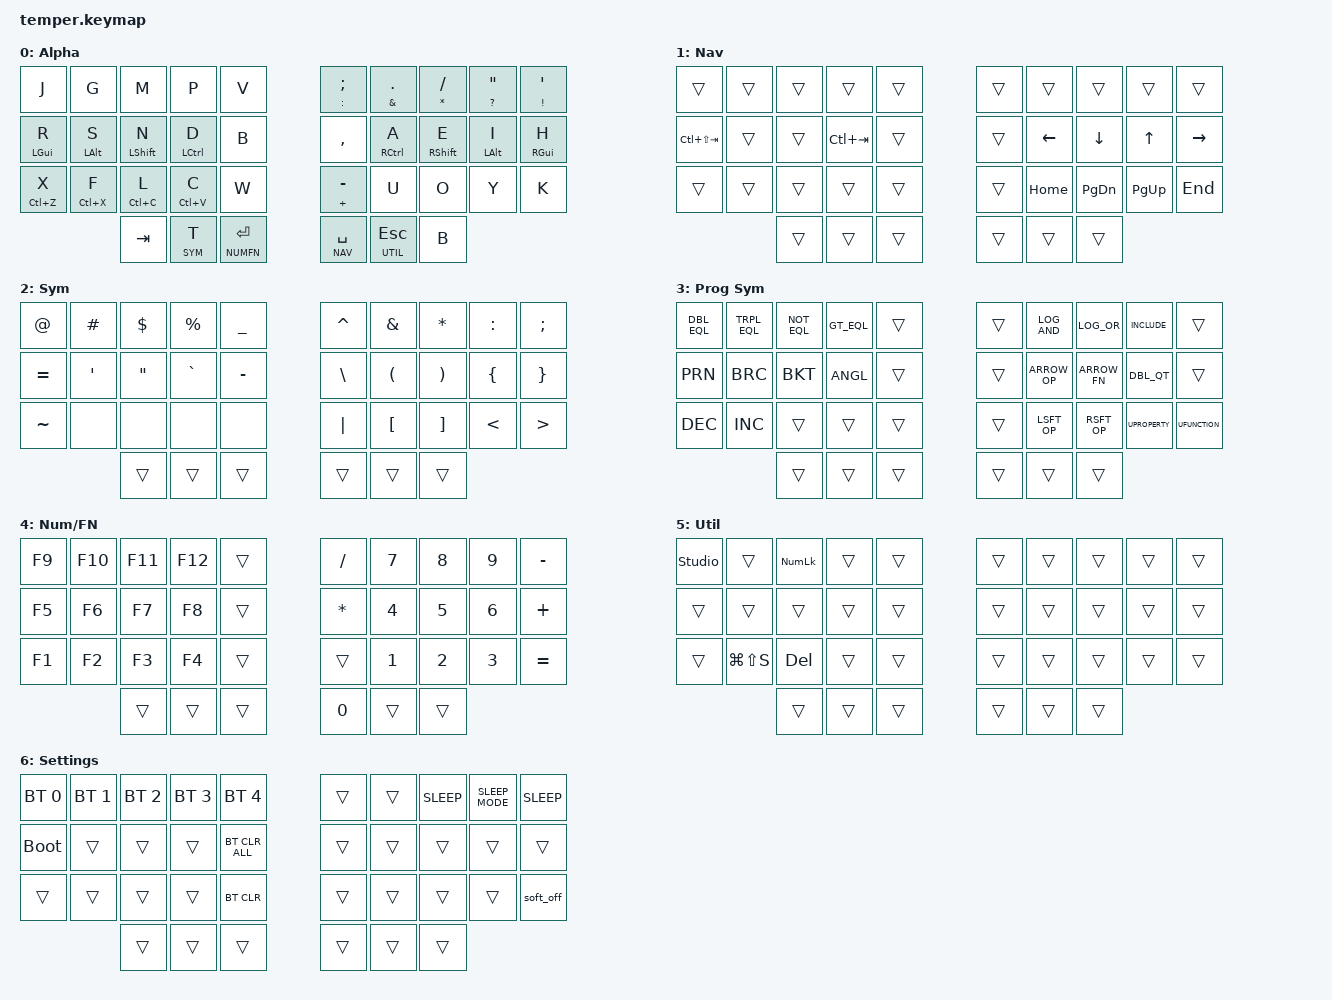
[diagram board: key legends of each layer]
/*
 * Copyright (c) 2020 The ZMK Contributors
 *
 * SPDX-License-Identifier: MIT
 */

#include "layers.conf"
#include "macros.conf"
#include "combos.conf"
#include <behaviors.dtsi>
#include <dt-bindings/zmk/bt.h>
#include <dt-bindings/zmk/keys.h>

/ {
    behaviors {
        hm: homerow_mods {
            compatible = "zmk,behavior-hold-tap";
            #binding-cells = <2>;
            tapping-term-ms = <200>;
            flavor = "tap-preferred";
            bindings = <&kp>, <&kp>;
        };

        kp_sl: behavior_kp_sl {
            compatible = "zmk,behavior-hold-tap";
            #binding-cells = <2>;
            flavor = "hold-preferred";
            tapping-term-ms = <200>;
            bindings = <&sl>, <&kp>;
        };

        ht: behavior_hold_tap_key {
            compatible = "zmk,behavior-hold-tap";
            #binding-cells = <2>;
            flavor = "hold-preferred";
            tapping-term-ms = <200>;
            bindings = <&kp>, <&kp>;
        };
    };

    conditional_layers {
        compatible = "zmk,conditional-layers";

        settings_trigger {
            if-layers = <1 4>;
            then-layer = <6>;
        };
    };

    combos {
        compatible = "zmk,combos";

        KP_Z {
            bindings = <&kp Z>;
            key-positions = <0 1>;
        };

        KP_Q {
            bindings = <&kp Q>;
            key-positions = <1 2>;
        };
    };

    keymap {
        compatible = "zmk,keymap";

        default_layer {
            display-name = "Alpha";
            bindings = <
  &kp J        &kp G        &kp M        &kp P        &kp V              &ht COLON SEMICOLON  &ht AMPERSAND PERIOD  &ht ASTERISK SLASH  &ht QUESTION DOUBLE_QUOTES  &ht EXCLAMATION SQT
  &hm LGUI R   &hm LALT S   &hm LSHFT N  &hm LCTRL D  &kp B              &kp COMMA            &hm RCTRL A           &hm RSHFT E         &hm LALT I                  &hm RGUI H
  &mt LC(Z) X  &mt LC(X) F  &mt LC(C) L  &mt LC(V) C  &kp W              &ht PLUS MINUS       &kp U                 &kp O               &kp Y                       &kp K
                            &kp TAB      &lt SYM T    &lt NUMFN ENTER    &lt NAV SPACE        &lt UTIL ESC          &kp B
            >;
        };

        nav_layer {
            display-name = "Nav";
            bindings = <
  &trans           &trans  &trans  &trans       &trans    &trans  &trans    &trans     &trans     &trans
  &kp LC(LS(TAB))  &trans  &trans  &kp LC(TAB)  &trans    &trans  &kp LEFT  &kp DOWN   &kp UP     &kp RIGHT
  &trans           &trans  &trans  &trans       &trans    &trans  &kp HOME  &kp PG_DN  &kp PG_UP  &kp END
                           &trans  &trans       &trans    &trans  &trans    &trans
            >;
        };

        sym_layer {
            display-name = "Sym";
            bindings = <
  &kp AT     &kp HASH  &kp DLLR  &kp PRCNT  &kp UNDER    &kp CARET  &kp AMPS  &kp STAR  &kp COLON  &kp SEMI
  &kp EQUAL  &kp APOS  &kp DQT   &kp GRAVE  &kp MINUS    &kp BSLH   &kp LPAR  &kp RPAR  &kp LBRC   &kp RBRC
  &kp TILDE  &none     &none     &none      &none        &kp PIPE   &kp LBKT  &kp RBKT  &kp LT     &kp GT
                       &trans    &trans     &trans       &trans     &trans    &trans
            >;
        };

        prog_sym_layer {
            display-name = "Prog Sym";
            bindings = <
  &DBL_EQL  &TRPL_EQL  &NOT_EQL  &GT_EQL  &trans    &trans  &LOG_AND   &LOG_OR    &INCLUDE    &trans
  &PRN      &BRC       &BKT      &ANGL    &trans    &trans  &ARROW_OP  &ARROW_FN  &DBL_QT     &trans
  &DEC      &INC       &trans    &trans   &trans    &trans  &LSFT_OP   &RSFT_OP   &UPROPERTY  &UFUNCTION
                       &trans    &trans   &trans    &trans  &trans     &trans
            >;
        };

        //                qwerty_layer {
        //                        bindings = <
        // ╭─────────────┬─────────────┬─────────────┬─────────────┬─────────────╮   ╭─────────────┬─────────────┬─────────────┬─────────────┬─────────────╮
        //        &kp Q         &kp W         &kp E         &kp R         &kp T              &kp Y        &kp U         &kp I         &kp O         &kp P   
        // ├─────────────┼─────────────┼─────────────┼─────────────┼─────────────┤   ├─────────────┼─────────────┼─────────────┼─────────────┼─────────────┤
        //        &kp A         &kp S         &kp D         &kp F         &kp G              &kp H        &kp J         &kp K         &kp L       &kp SEMI
        // ├─────────────┼─────────────┼─────────────┼─────────────┼─────────────┤   ├─────────────┼─────────────┼─────────────┼─────────────┼─────────────┤
        //        &kp Z         &kp X         &kp C         &kp V         &kp B              &kp N        &kp M       &kp COMMA      &kp DOT      &kp FSLH
        // ╰─────────────┴─────────────┼─────────────┼─────────────┼─────────────┤   ├─────────────┼─────────────┼─────────────┼─────────────┴─────────────╯
        //                                    &trans        &trans        &trans             &trans       &trans        &trans
        //                             ╰─────────────┴─────────────┴─────────────╯   ╰─────────────┴─────────────┴─────────────╯
        //                        >;
        //                };

        numfn_layer {
            display-name = "Num/FN";
            bindings = <
  &kp F9  &kp F10  &kp F11  &kp F12  &trans    &kp SLASH  &kp N7  &kp N8  &kp N9  &kp MINUS
  &kp F5  &kp F6   &kp F7   &kp F8   &trans    &kp STAR   &kp N4  &kp N5  &kp N6  &kp PLUS
  &kp F1  &kp F2   &kp F3   &kp F4   &trans    &trans     &kp N1  &kp N2  &kp N3  &kp EQUAL
                   &trans   &trans   &trans    &kp N0     &trans  &trans
            >;
        };

        util_layer {
            display-name = "Util";
            bindings = <
  &studio_unlock  &trans         &kp KP_NUMLOCK  &trans  &trans    &trans  &trans  &trans  &trans  &trans
  &trans          &trans         &trans          &trans  &trans    &trans  &trans  &trans  &trans  &trans
  &trans          &kp LG(LS(S))  &kp DEL         &trans  &trans    &trans  &trans  &trans  &trans  &trans
                                 &trans          &trans  &trans    &trans  &trans  &trans
            >;
        };

        settings_layer {
            display-name = "Settings";
            bindings = <
  &bt BT_SEL 0  &bt BT_SEL 1  &bt BT_SEL 2  &bt BT_SEL 3  &bt BT_SEL 4      &trans  &trans  &kp K_SLEEP  &kp C_SLEEP_MODE  &kp C_SLEEP
  &bootloader   &trans        &trans        &trans        &bt BT_CLR_ALL    &trans  &trans  &trans       &trans            &trans
  &trans        &trans        &trans        &trans        &bt BT_CLR        &trans  &trans  &trans       &trans            &soft_off
                              &trans        &trans        &trans            &trans  &trans  &trans
            >;
        };

        //                fun_layer {
        //                        bindings = <
        // ╭─────────────┬─────────────┬─────────────┬─────────────┬─────────────╮   ╭─────────────┬─────────────┬─────────────┬─────────────┬─────────────╮
        //     &tog QWERTY   &kp K_MUTE    &kp C_VOL_DN  &kp C_VOL_UP  &out OUT_TOG         &trans        &kp F7        &kp F8        &kp F9       &kp F12
        // ├─────────────┼─────────────┼─────────────┼─────────────┼─────────────┤   ├─────────────┼─────────────┼─────────────┼─────────────┼─────────────┤
        //     &bt BT_SEL 0  &bt BT_SEL 1  &bt BT_SEL 2  &bt BT_SEL 3  &bt BT_SEL 4         &trans        &kp F4        &kp F5        &kp F6       &kp F11
        // ├─────────────┼─────────────┼─────────────┼─────────────┼─────────────┤   ├─────────────┼─────────────┼─────────────┼─────────────┼─────────────┤
        //      &bt BT_CLR    &kp C_PREV     &kp C_PP     &kp C_NEXT      &trans            &trans        &kp F1        &kp F2        &kp F3       &kp F10
        // ╰─────────────┴─────────────┼─────────────┼─────────────┼─────────────┤   ├─────────────┼─────────────┼─────────────┼─────────────┴─────────────╯
        //                                    &trans        &trans        &trans            &trans        &trans        &trans
        //                             ╰─────────────┴─────────────┴─────────────╯   ╰─────────────┴─────────────┴─────────────╯
        //                        >;
        //                };
    };
};
